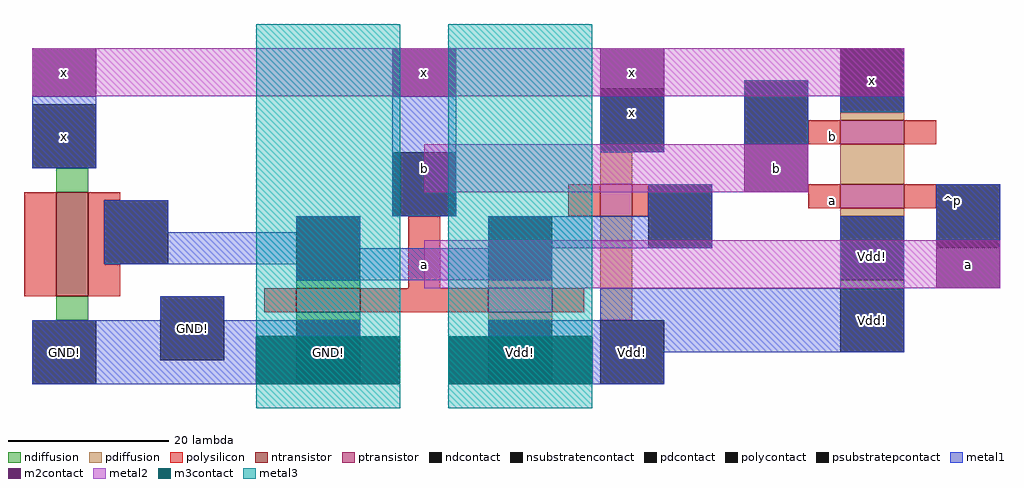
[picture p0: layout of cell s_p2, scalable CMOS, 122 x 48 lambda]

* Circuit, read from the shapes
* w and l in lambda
.subckt s_p2 GND! Vdd! a b x
M1 x n1 GND! GND! nfet w=4 l=13
M2 n1 x GND! GND! nfet w=8 l=3
M3 n1 x Vdd! Vdd! pfet w=8 l=3
M4 x n1 Vdd! Vdd! pfet w=4 l=4
M5 n2 a Vdd! Vdd! pfet w=8 l=3
M6 x b n2 Vdd! pfet w=8 l=3
.ends

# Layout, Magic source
magic
tech scmos
<< ndiffusion >>
rect -46 75 -42 78
rect -16 63 -8 64
rect -46 59 -42 62
rect -16 59 -8 60
<< pdiffusion >>
rect 52 84 60 85
rect 22 76 26 80
rect 52 76 60 81
rect 8 63 16 64
rect 8 59 16 60
rect 22 59 26 72
rect 52 72 60 73
rect 52 63 60 64
<< ntransistor >>
rect -46 62 -42 75
rect -16 60 -8 63
<< ptransistor >>
rect 52 81 60 84
rect 22 72 26 76
rect 8 60 16 63
rect 52 73 60 76
<< polysilicon >>
rect 48 81 52 84
rect 60 81 64 84
rect -50 62 -46 75
rect -42 74 -38 75
rect -42 66 -40 74
rect 18 72 22 76
rect 26 72 28 76
rect -42 62 -38 66
rect -2 63 2 72
rect -20 60 -16 63
rect -8 60 8 63
rect 16 60 20 63
rect 48 73 52 76
rect 60 73 64 76
<< ndcontact >>
rect -49 78 -41 86
rect -16 64 -8 72
rect -49 51 -41 59
rect -16 51 -8 59
<< pdcontact >>
rect 22 80 30 88
rect 52 85 60 93
rect 8 64 16 72
rect 8 51 16 59
rect 52 64 60 72
rect 22 51 30 59
<< psubstratepcontact >>
rect -33 54 -25 62
<< nsubstratencontact >>
rect 52 55 60 63
<< polycontact >>
rect 40 81 48 89
rect -40 66 -32 74
rect -4 72 4 80
rect 28 68 36 76
rect 64 68 72 76
<< metal1 >>
rect -49 78 -41 87
rect -40 70 -32 74
rect -4 72 4 87
rect 22 80 30 87
rect 40 81 48 89
rect 52 85 60 87
rect 28 72 36 76
rect -16 70 -8 72
rect -40 68 -8 70
rect 8 68 36 72
rect -40 66 16 68
rect -16 64 16 66
rect 52 63 60 72
rect 64 69 72 76
rect -33 59 -25 62
rect 22 59 60 63
rect -49 57 -8 59
rect 8 57 60 59
rect -49 51 -21 57
rect 21 55 60 57
rect 21 51 30 55
<< m2contact >>
rect -49 87 -41 93
rect -4 87 4 93
rect 22 87 30 93
rect 52 87 60 93
rect 40 75 48 81
rect 64 63 72 69
rect -21 51 -3 57
rect 3 51 21 57
<< metal2 >>
rect -49 87 60 93
rect 0 75 48 81
rect 0 63 72 69
<< m3contact >>
rect -21 51 -3 57
rect 3 51 21 57
<< metal3 >>
rect -21 48 -3 96
rect 3 48 21 96
<< labels >>
rlabel ndcontact -12 55 -12 55 1 GND!
rlabel pdcontact 12 55 12 55 1 Vdd!
rlabel metal1 26 55 26 55 1 Vdd!
rlabel metal1 -45 82 -45 82 1 x
rlabel metal1 -45 55 -45 55 1 GND!
rlabel metal1 -29 58 -29 58 1 GND!
rlabel metal2 0 63 0 69 3 a
rlabel metal1 26 85 26 85 1 x
rlabel metal2 0 87 0 93 5 x
rlabel metal2 0 75 0 81 3 b
rlabel metal1 56 59 56 59 1 Vdd!
rlabel polysilicon 51 74 51 74 3 a
rlabel polysilicon 51 82 51 82 3 b
rlabel metal1 56 67 56 67 1 Vdd!
rlabel space 59 54 73 94 3 ^p
rlabel metal2 44 78 44 78 1 b
rlabel metal2 68 66 68 66 7 a
rlabel metal2 26 90 26 90 1 x
rlabel metal2 56 89 56 89 1 x
rlabel metal2 -45 90 -45 90 3 x
<< end >>
